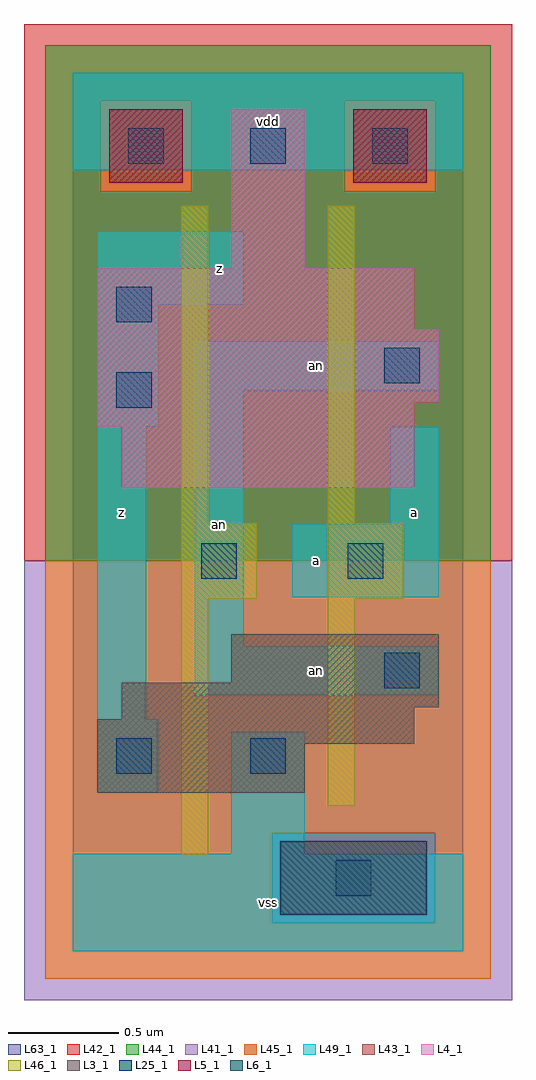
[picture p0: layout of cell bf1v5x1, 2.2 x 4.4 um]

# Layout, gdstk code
import gdstk
lib = gdstk.Library(unit=1e-6, precision=1e-09)
def R(c, l, rs):  # rectangles x0, y0, x1, y1
    for r in rs: c.add(gdstk.rectangle(r[:2], r[2:], *l))
def A(c, l, x, y, w, h, nx, ny, dx, dy):  # array of equal rectangles
    R(c, l, [(x+i*dx, y+j*dy, x+i*dx+w, y+j*dy+h) for i in range(nx) for j in range(ny)])
L3_1 = (3, 1)
L4_1 = (4, 1)
L5_1 = (5, 1)
L6_1 = (6, 1)
L25_1 = (25, 1)
L41_1 = (41, 1)
L42_1 = (42, 1)
L43_1 = (43, 1)
L44_1 = (44, 1)
L45_1 = (45, 1)
L46_1 = (46, 1)
L49_1 = (49, 1)
L63_1 = (63, 1)

bf1v5x1 = lib.new_cell('bf1v5x1')
R(bf1v5x1, L3_1, [(0.11,0.715,1.045,0.935), (0.11,0.935,1.54,1.045), (0.22,1.045,1.54,1.1), (0.22,1.1,1.65,1.21), (0.715,1.21,1.65,1.43)])
R(bf1v5x1, L4_1, [(0.22,2.09,1.54,2.365), (0.11,2.365,1.54,2.475), (0.11,2.475,1.65,2.805), (0.11,2.805,1.54,3.08), (0.715,3.08,1.045,3.795)])
R(bf1v5x1, L5_1, [(0.165,3.465,0.495,3.795), (1.265,3.465,1.595,3.795)])
R(bf1v5x1, L6_1, [(0.935,0.165,1.595,0.495)])
A(bf1v5x1, L25_1, 0.25, 3.55, 0.16, 0.16, 3, 1, 0.55, 0)
R(bf1v5x1, L25_1, [(1.185,0.25,1.345,0.41), (0.195,0.8,0.355,0.96), (0.8,0.8,0.96,0.96), (1.405,1.185,1.565,1.345), (0.58,1.68,0.74,1.84), (1.24,1.68,1.4,1.84), (0.195,2.45,0.355,2.61), (1.405,2.56,1.565,2.72), (0.195,2.835,0.355,2.995)])
R(bf1v5x1, L41_1, [(-0.22,-0.22,1.98,1.76)])
R(bf1v5x1, L42_1, [(-0.22,1.76,1.98,4.18)])
R(bf1v5x1, L43_1, [(0.935,0.165,1.595,0.495), (0.11,0.715,1.045,0.935), (0.11,0.935,1.54,1.045), (0.22,1.045,1.54,1.1), (0.22,1.1,1.65,1.21), (0.715,1.21,1.65,1.43), (0.22,2.09,1.54,2.365), (0.11,2.365,1.54,2.475), (0.11,2.475,1.65,2.805), (0.11,2.805,1.54,3.08), (0.715,3.08,1.045,3.795), (0.165,3.465,0.495,3.795), (1.265,3.465,1.595,3.795)])
R(bf1v5x1, L44_1, [(0.895,0.125,1.635,0.535), (-0.125,1.76,1.885,3.425), (-0.125,3.425,0.125,3.835), (0.535,3.425,1.225,3.835), (1.635,3.425,1.885,3.835), (-0.125,3.835,1.885,4.085)])
R(bf1v5x1, L45_1, [(-0.125,-0.125,1.885,0.125), (-0.125,0.125,0.895,0.535), (1.635,0.125,1.885,0.535), (-0.125,0.535,1.885,1.76), (0.125,3.425,0.535,3.835), (1.225,3.425,1.635,3.835)])
R(bf1v5x1, L46_1, [(0.49,0.435,0.61,1.59), (1.15,0.655,1.27,1.59), (0.49,1.59,0.83,1.93), (1.15,1.59,1.49,1.93), (0.49,1.93,0.61,3.36), (1.15,1.93,1.27,3.36)])
R(bf1v5x1, L49_1, [(0,0,1.76,0.44), (0.715,0.44,1.045,0.99), (0.11,0.715,0.385,1.045), (0.11,1.045,0.33,2.365), (0.55,1.155,1.65,1.375), (0.55,1.375,0.77,2.53), (0.99,1.595,1.65,1.925), (1.43,1.925,1.65,2.365), (0.11,2.365,0.385,2.915), (0.55,2.53,1.65,2.75), (0.11,2.915,0.77,3.245), (0,3.52,1.76,3.96)])
R(bf1v5x1, L63_1, [(0,0,1.76,3.96)])
bf1v5x1.add(gdstk.Label('z', (0.22,1.98), layer=49, texttype=1))
bf1v5x1.add(gdstk.Label('an', (0.66,1.925), layer=49, texttype=1))
bf1v5x1.add(gdstk.Label('z', (0.66,3.08), layer=49, texttype=1))
bf1v5x1.add(gdstk.Label('vss', (0.88,0.22), layer=49, texttype=1))
bf1v5x1.add(gdstk.Label('a', (1.1,1.76), layer=49, texttype=1))
bf1v5x1.add(gdstk.Label('vdd', (0.88,3.74), layer=49, texttype=1))
bf1v5x1.add(gdstk.Label('an', (1.1,1.265), layer=49, texttype=1))
bf1v5x1.add(gdstk.Label('a', (1.54,1.98), layer=49, texttype=1))
bf1v5x1.add(gdstk.Label('an', (1.1,2.64), layer=49, texttype=1))

lib.write_gds('bf1v5x1.gds')
